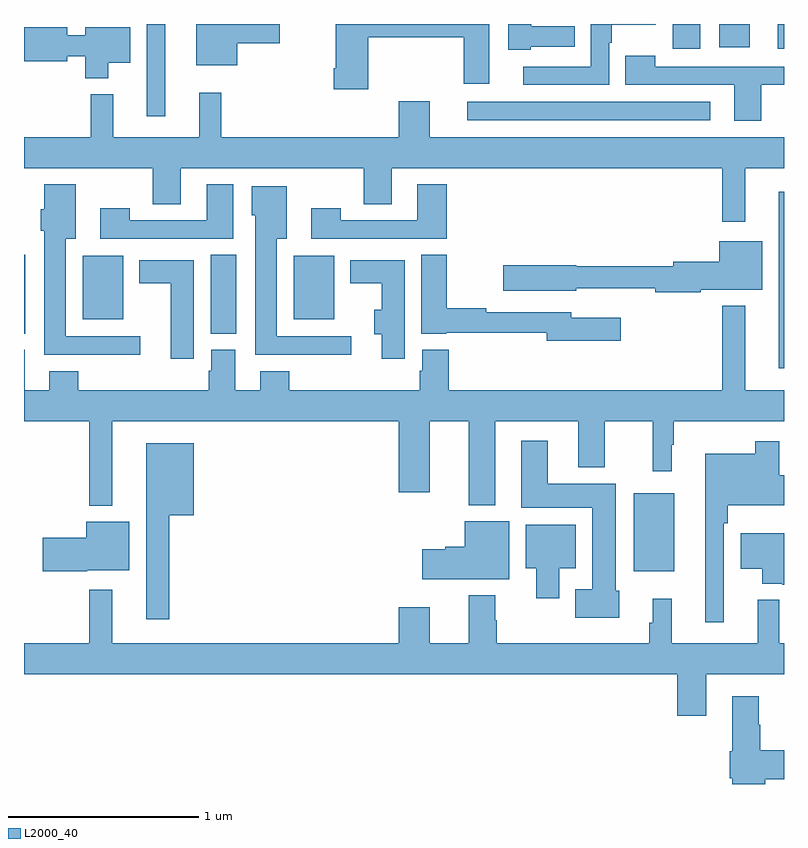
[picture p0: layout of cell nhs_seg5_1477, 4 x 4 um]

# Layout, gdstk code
import gdstk
lib = gdstk.Library(unit=1e-6, precision=1e-09)
def R(c, l, rs):  # rectangles x0, y0, x1, y1
    for r in rs: c.add(gdstk.rectangle(r[:2], r[2:], *l))
def P(c, l, *ps):  # polygons
    for p in ps: c.add(gdstk.Polygon(p, *l))
L2000_40 = (2000, 40)

nhs_seg5_1477 = lib.new_cell('nhs_seg5_1477')
R(nhs_seg5_1477, L2000_40, [(202.208,907.919,202.423,908.329), (202.973,908.987,203,909.916), (199,909.169,199.006,909.584), (199.982,909.169,200.116,909.584), (199.31,909.245,199.522,909.58), (200.42,909.245,200.632,909.58), (201.333,910.293,202.612,910.389), (199.647,910.314,199.744,910.799), (202.415,910.668,202.558,910.799), (202.967,910.668,203,910.799), (202.658,910.676,202.819,910.799)])
P(nhs_seg5_1477, L2000_40, [(200.813,910.728),(201.314,910.728),(201.314,910.485),(201.448,910.485),(201.448,910.799),(200.642,910.799),(200.642,910.567),(200.63,910.567),(200.63,910.455),(200.813,910.455)],
  [(202.08,910.7),(202.093,910.7),(202.093,910.796),(202.326,910.796),(202.326,910.799),(201.984,910.799),(201.984,910.575),(201.627,910.575),(201.627,910.479),(202.08,910.479)],
  [(200.122,910.697),(200.347,910.697),(200.347,910.799),(199.907,910.799),(199.907,910.583),(200.122,910.583)],
  [(201.666,910.679),(201.898,910.679),(201.898,910.786),(201.67,910.786),(201.67,910.799),(201.548,910.799),(201.548,910.664),(201.666,910.664)],
  [(199.444,910.595),(199.558,910.595),(199.558,910.783),(199.322,910.783),(199.322,910.739),(199.228,910.739),(199.228,910.781),(199,910.781),(199,910.603),(199.228,910.603),(199.228,910.629),(199.322,910.629),(199.322,910.514),(199.444,910.514)],
  [(202.879,910.479),(203,910.479),(203,910.575),(202.322,910.575),(202.322,910.633),(202.165,910.633),(202.165,910.479),(202.739,910.479),(202.739,910.29),(202.879,910.29)],
  [(202.795,910.04),(203,910.04),(203,910.204),(201.136,910.204),(201.136,910.393),(200.972,910.393),(200.972,910.204),(200.039,910.204),(200.039,910.438),(199.922,910.438),(199.922,910.204),(199.469,910.204),(199.469,910.429),(199.351,910.429),(199.351,910.204),(199,910.204),(199,910.04),(199.678,910.04),(199.678,909.85),(199.825,909.85),(199.825,910.04),(200.788,910.04),(200.788,909.85),(200.935,909.85),(200.935,910.04),(202.674,910.04),(202.674,909.759),(202.795,909.759)],
  [(201.224,909.955),(201.071,909.955),(201.071,909.765),(200.667,909.765),(200.667,909.829),(200.511,909.829),(200.511,909.669),(201.224,909.669)],
  [(199.612,909.156),(199.219,909.156),(199.219,909.668),(199.273,909.668),(199.273,909.955),(199.106,909.955),(199.106,909.825),(199.088,909.825),(199.088,909.711),(199.106,909.711),(199.106,909.059),(199.612,909.059)],
  [(200.101,909.955),(199.961,909.955),(199.961,909.765),(199.557,909.765),(199.557,909.829),(199.401,909.829),(199.401,909.669),(200.101,909.669)],
  [(200.722,909.156),(200.329,909.156),(200.329,909.668),(200.383,909.668),(200.383,909.946),(200.198,909.946),(200.198,909.792),(200.216,909.792),(200.216,909.059),(200.722,909.059)],
  [(202.562,909.401),(202.885,909.401),(202.885,909.655),(202.658,909.655),(202.658,909.549),(202.418,909.549),(202.418,909.524),(201.906,909.524),(201.906,909.53),(201.522,909.53),(201.522,909.395),(201.906,909.395),(201.906,909.407),(202.322,909.407),(202.322,909.388),(202.562,909.388)],
  [(202.141,909.253),(201.88,909.253),(201.88,909.282),(201.434,909.282),(201.434,909.302),(201.226,909.302),(201.226,909.584),(201.092,909.584),(201.092,909.17),(201.222,909.17),(201.222,909.174),(201.752,909.174),(201.752,909.131),(202.141,909.131)],
  [(199.894,909.556),(199.607,909.556),(199.607,909.434),(199.772,909.434),(199.772,909.036),(199.894,909.036)],
  [(201.004,909.556),(200.717,909.556),(200.717,909.434),(200.882,909.434),(200.882,909.295),(200.843,909.295),(200.843,909.166),(200.882,909.166),(200.882,909.036),(201.004,909.036)],
  [(201.236,909.085),(201.095,909.085),(201.095,908.973),(201.083,908.973),(201.083,908.872),(200.396,908.872),(200.396,908.971),(200.243,908.971),(200.243,908.872),(200.113,908.872),(200.113,909.084),(199.985,909.084),(199.985,908.973),(199.973,908.973),(199.973,908.872),(199.286,908.872),(199.286,908.971),(199.133,908.971),(199.133,908.872),(199.003,908.872),(199.003,909.084),(199,909.084),(199,908.708),(199.344,908.708),(199.344,908.264),(199.465,908.264),(199.465,908.708),(200.972,908.708),(200.972,908.334),(201.136,908.334),(201.136,908.708),(201.341,908.708),(201.341,908.267),(201.481,908.267),(201.481,908.708),(201.917,908.708),(201.917,908.465),(202.057,908.465),(202.057,908.708),(202.309,908.708),(202.309,908.445),(202.408,908.445),(202.408,908.585),(202.42,908.585),(202.42,908.708),(203,908.708),(203,908.872),(202.795,908.872),(202.795,909.316),(202.675,909.316),(202.675,909.209),(202.674,909.209),(202.674,908.872),(201.236,908.872)],
  [(202.132,907.815),(202.114,907.815),(202.114,908.38),(201.757,908.38),(201.757,908.605),(201.617,908.605),(201.617,908.252),(201.992,908.252),(201.992,907.825),(201.902,907.825),(201.902,907.673),(202.132,907.673)],
  [(202.683,908.171),(202.703,908.171),(202.703,908.267),(203,908.267),(203,908.425),(202.976,908.425),(202.976,908.602),(202.848,908.602),(202.848,908.536),(202.586,908.536),(202.586,907.65),(202.683,907.65)],
  [(199.765,908.213),(199.894,908.213),(199.894,908.593),(199.643,908.593),(199.643,907.665),(199.765,907.665)],
  [(201.553,908.182),(201.32,908.182),(201.32,908.048),(201.216,908.048),(201.216,908.035),(201.096,908.035),(201.096,907.877),(201.553,907.877)],
  [(199.332,907.925),(199.555,907.925),(199.555,908.179),(199.328,908.179),(199.328,908.096),(199.098,908.096),(199.098,907.918),(199.332,907.918)],
  [(201.817,907.934),(201.904,907.934),(201.904,908.164),(201.641,908.164),(201.641,907.934),(201.695,907.934),(201.695,907.776),(201.817,907.776)],
  [(203,908.119),(202.772,908.119),(202.772,907.931),(202.886,907.931),(202.886,907.853),(202.99,907.853),(202.99,907.848),(203,907.848)],
  [(202.591,907.376),(203,907.376),(203,907.54),(202.975,907.54),(202.975,907.768),(202.862,907.768),(202.862,907.54),(202.409,907.54),(202.409,907.774),(202.31,907.774),(202.31,907.649),(202.291,907.649),(202.291,907.54),(201.489,907.54),(201.489,907.661),(201.481,907.661),(201.481,907.792),(201.341,907.792),(201.341,907.54),(201.136,907.54),(201.136,907.729),(200.972,907.729),(200.972,907.54),(199.465,907.54),(199.465,907.822),(199.344,907.822),(199.344,907.54),(199,907.54),(199,907.376),(202.439,907.376),(202.439,907.158),(202.591,907.158)],
  [(202.9,906.824),(203,906.824),(203,906.976),(202.875,906.976),(202.875,907.11),(202.867,907.11),(202.867,907.261),(202.727,907.261),(202.727,906.972),(202.715,906.972),(202.715,906.828),(202.727,906.828),(202.727,906.799),(202.9,906.799)])

lib.write_gds('nhs_seg5_1477.gds')
